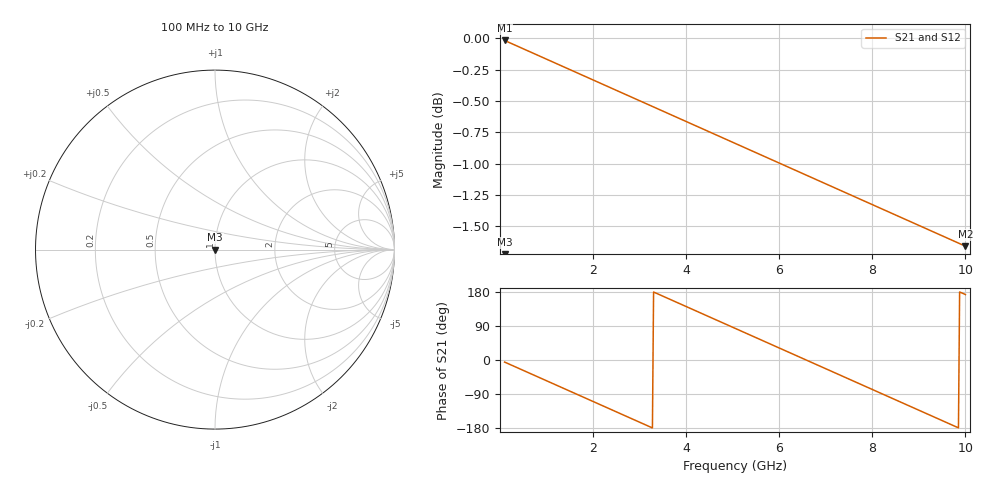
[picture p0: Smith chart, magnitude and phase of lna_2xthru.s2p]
!SYNTHETIC example data (scikit-rf model) - not an EM result, not a measurement
!the fixture's 2x-thru: 24 mm line
! Created with skrf 2.2.0 (http://scikit-rf.org).
# GHz S RI R 50
!freq ReS11 ImS11 ReS21 ImS21 ReS12 ImS12 ReS22 ImS22
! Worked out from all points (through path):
!   400 points, 100 MHz to 10 GHz, reference 50 ohm
!   highest |S21| = -0.02 dB at 100 MHz (marker M1); lowest = -1.7 dB at 10 GHz (marker M2)
!   group delay of S21, straight-line fit = 152 ps
!   lowest |S11| = - dB at 100 MHz (marker M3), VSWR 1.00, Z = 50 + j0 ohm
!   |S11| at or under -10 dB: start of sweep to end of sweep
!   |S22| runs from - to - dB; largest |S21 - S12| = 0
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0.1  0 0  0.9935 -0.0952  0.9935 -0.0952  0 0
0.5466165  0 0  0.8578 -0.4935  0.8578 -0.4935  0 0
1.018045  0 0  0.5526 -0.8103  0.5526 -0.8103  0 0
1.390226  0 0  0.2344 -0.9452  0.2344 -0.9452  0 0
1.762406  0 0  -0.1084 -0.9608  -0.1084 -0.9608  0 0
2.184211  0 0  -0.4726 -0.8346  -0.4726 -0.8346  0 0
2.655639  0 0  -0.7816 -0.5409  -0.7816 -0.5409  0 0
3.02782  0 0  -0.9145 -0.2334  -0.9145 -0.2334  0 0
3.4  0 0  -0.9319 0.0987  -0.9319 0.0987  0 0
3.821805  0 0  -0.812 0.4525  -0.812 0.4525  0 0
4.293233  0 0  -0.5294 0.754  -0.5294 0.754  0 0
4.690226  0 0  -0.2111 0.8896  -0.2111 0.8896  0 0
5.062406  0 0  0.1109 0.901  0.1109 0.901  0 0
5.484211  0 0  0.4516 0.7791  0.4516 0.7791  0 0
5.955639  0 0  0.739 0.5005  0.739 0.5005  0 0
6.7  0 0  0.874 -0.1015  0.874 -0.1015  0 0
7.121805  0 0  0.7581 -0.4325  0.7581 -0.4325  0 0
7.593233  0 0  0.4899 -0.7129  0.4899 -0.7129  0 0
8.362406  0 0  -0.1126 -0.8449  -0.1126 -0.8449  0 0
8.784211  0 0  -0.4313 -0.7272  -0.4313 -0.7272  0 0
9.255639  0 0  -0.6985 -0.4629  -0.6985 -0.4629  0 0
10  0 0  -0.8196 0.1035  -0.8196 0.1035  0 0
